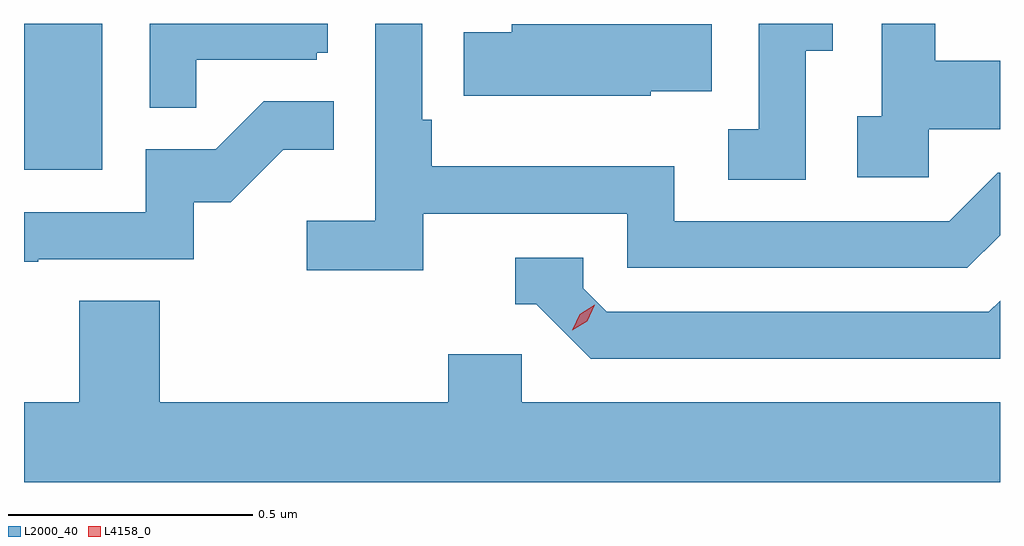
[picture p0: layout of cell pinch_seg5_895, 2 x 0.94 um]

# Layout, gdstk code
import gdstk
lib = gdstk.Library(unit=1e-6, precision=1e-09)
def R(c, l, rs):  # rectangles x0, y0, x1, y1
    for r in rs: c.add(gdstk.rectangle(r[:2], r[2:], *l))
def P(c, l, *ps):  # polygons
    for p in ps: c.add(gdstk.Polygon(p, *l))
L2000_40 = (2000, 40)
L4158_0 = (4158, 0)

pinch_seg5_895 = lib.new_cell('pinch_seg5_895')
R(pinch_seg5_895, L2000_40, [(839.094,877.38,839.254,877.679)])
P(pinch_seg5_895, L2000_40, [(839.912,877.29),(840.33,877.29),(840.33,877.179),(841.027,877.179),(841.094,877.246),(841.094,877.374),(841.089,877.374),(840.99,877.275),(840.426,877.275),(840.426,877.387),(839.93,877.387),(839.93,877.483),(839.91,877.483),(839.91,877.679),(839.814,877.679),(839.814,877.276),(839.673,877.276),(839.673,877.174),(839.912,877.174)],
  [(840.948,877.463),(841.094,877.463),(841.094,877.603),(840.961,877.603),(840.961,877.679),(840.852,877.679),(840.852,877.49),(840.801,877.49),(840.801,877.365),(840.948,877.365)],
  [(840.696,877.624),(840.751,877.624),(840.751,877.679),(840.6,877.679),(840.6,877.463),(840.537,877.463),(840.537,877.36),(840.696,877.36)],
  [(839.447,877.605),(839.694,877.605),(839.694,877.62),(839.716,877.62),(839.716,877.679),(839.352,877.679),(839.352,877.507),(839.447,877.507)],
  [(840.378,877.541),(840.503,877.541),(840.503,877.678),(840.093,877.678),(840.093,877.662),(839.995,877.662),(839.995,877.532),(840.378,877.532)],
  [(839.123,877.197),(839.442,877.197),(839.442,877.314),(839.518,877.314),(839.625,877.421),(839.729,877.421),(839.729,877.52),(839.585,877.52),(839.487,877.422),(839.343,877.422),(839.343,877.293),(839.094,877.293),(839.094,877.192),(839.123,877.192)],
  [(841.094,877.112),(841.071,877.089),(840.288,877.089),(840.24,877.137),(840.24,877.2),(840.101,877.2),(840.101,877.104),(840.144,877.104),(840.255,876.993),(841.094,876.993)],
  [(841.094,876.904),(840.114,876.904),(840.114,877.002),(839.963,877.002),(839.963,876.904),(839.372,876.904),(839.372,877.112),(839.207,877.112),(839.207,876.904),(839.094,876.904),(839.094,876.74),(841.094,876.74)])
P(pinch_seg5_895, L4158_0, [(840.217,877.051),(840.217,877.051),(840.233,877.084),(840.264,877.103),(840.264,877.103),(840.264,877.103),(840.248,877.07),(840.217,877.051)])

lib.write_gds('pinch_seg5_895.gds')
